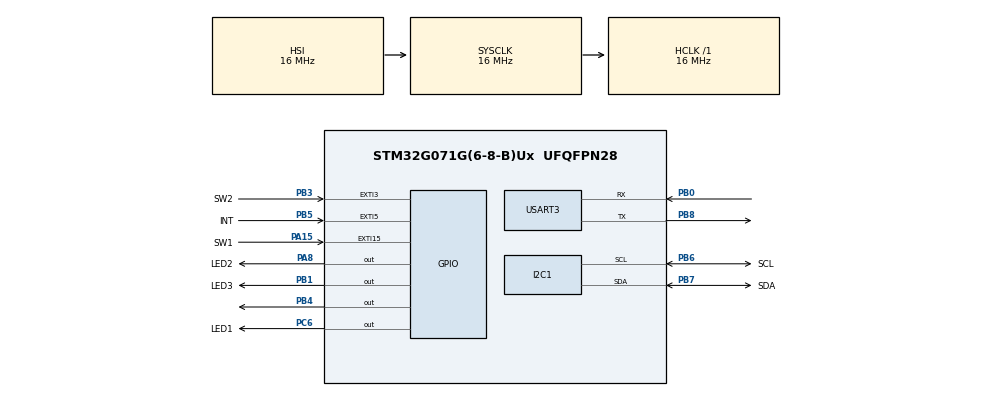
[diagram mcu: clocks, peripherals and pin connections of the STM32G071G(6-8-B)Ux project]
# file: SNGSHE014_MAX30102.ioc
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Mcu.Family=STM32G0
Mcu.Name=STM32G071G(6-8-B)Ux
Mcu.Package=UFQFPN28
PA15.GPIO_Label=SW1
PA15.GPIO_PuPd=GPIO_PULLUP
PA15.Signal=GPXTI15
PA8.GPIO_Label=LED2
PA8.GPIO_PuPd=GPIO_PULLUP
PA8.Signal=GPIO_Output
PB0.Mode=Asynchronous
PB0.Signal=USART3_RX
PB1.GPIO_Label=LED3
PB1.GPIO_PuPd=GPIO_PULLUP
PB1.Signal=GPIO_Output
PB3.GPIO_Label=SW2
PB3.GPIO_PuPd=GPIO_PULLUP
PB3.Signal=GPXTI3
PB4.Signal=GPIO_Output
PB5.GPIO_Label=INT
PB5.GPIO_PuPd=GPIO_PULLUP
PB5.Signal=GPXTI5
PB6.GPIO_Label=SCL
PB6.Mode=I2C
PB6.Signal=I2C1_SCL
PB7.GPIO_Label=SDA
PB7.Mode=I2C
PB7.Signal=I2C1_SDA
PB8.Mode=Asynchronous
PB8.Signal=USART3_TX
PC6.GPIO_Label=LED1
PC6.Signal=GPIO_Output
ProjectManager.HeapSize=0x200
ProjectManager.StackSize=0x400
ProjectManager.TargetToolchain=STM32CubeIDE
RCC.AHBFreq_Value=16000000
RCC.CortexFreq_Value=16000000
RCC.EXTERNAL_CLOCK_VALUE=48000
RCC.HCLKFreq_Value=16000000
RCC.HSE_VALUE=8000000
RCC.HSI_VALUE=16000000
RCC.LSE_VALUE=32768
RCC.SYSCLKFreq_VALUE=16000000
RCC.VCOOutputFreq_Value=128000000
USART3.VirtualMode-Asynchronous=VM_ASYNC
VP_SYS_VS_DBSignals.Mode=DisableDeadBatterySignals
board=custom

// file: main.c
/* USER CODE BEGIN Header */
/**
  ******************************************************************************
  * @file           : main.c
  * @brief          : Main program body
  ******************************************************************************
  * @attention
  *
  * <h2><center>&copy; Copyright (c) 2020 STMicroelectronics.
  * All rights reserved.</center></h2>
  *
  * This software component is licensed by ST under BSD 3-Clause license,
  * the "License"; You may not use this file except in compliance with the
  * License. You may obtain a copy of the License at:
  *                        opensource.org/licenses/BSD-3-Clause
  *
  ******************************************************************************
  */
/* USER CODE END Header */
#include "main.h"

/* USER CODE BEGIN Includes */
#include <stdio.h>
#include <string.h>
#include "MAX30102.h"
/* USER CODE END Includes */

I2C_HandleTypeDef hi2c1;

UART_HandleTypeDef huart3;

/* USER CODE BEGIN PV */
char UartBuf [32];
/* USER CODE END PV */

void SystemClock_Config(void);
static void MX_GPIO_Init(void);
static void MX_I2C1_Init(void);
static void MX_USART3_UART_Init(void);
static void MX_NVIC_Init(void);

/* USER CODE BEGIN 0 */
void UART3_SendString(char* s)
{
	HAL_UART_Transmit(&huart3, (uint8_t*) s, strlen(s), 1000);
}
/* USER CODE END 0 */

int main(void)
{

  /* MCU Configuration--------------------------------------------------------*/

  /* Reset of all peripherals, Initializes the Flash interface and the Systick. */
  HAL_Init();

  /* Configure the system clock */
  SystemClock_Config();

  /* Initialize all configured peripherals */
  MX_GPIO_Init();
  MX_I2C1_Init();
  MX_USART3_UART_Init();
  /* USER CODE BEGIN 2 */
  /* Initialize interrupts */
    MX_NVIC_Init();

    UART3_SendString("START\n\r");

    Max30102_Init(&hi2c1);
  /* USER CODE END 2 */

  /* Infinite loop */
  while (1)
  {
	  Max30102_Task();
	  sprintf(UartBuf, "HR: %d\n\rSpO2: %d\n\r", Max30102_GetHeartRate(), Max30102_GetSpO2Value());
	  UART3_SendString(UartBuf);
  }
}

void SystemClock_Config(void)
{
  RCC_OscInitTypeDef RCC_OscInitStruct = {0};
  RCC_ClkInitTypeDef RCC_ClkInitStruct = {0};
  RCC_PeriphCLKInitTypeDef PeriphClkInit = {0};

  /** Configure the main internal regulator output voltage
  */
  HAL_PWREx_ControlVoltageScaling(PWR_REGULATOR_VOLTAGE_SCALE1);
  /** Initializes the RCC Oscillators according to the specified parameters
  * in the RCC_OscInitTypeDef structure.
  */
  RCC_OscInitStruct.OscillatorType = RCC_OSCILLATORTYPE_HSI;
  RCC_OscInitStruct.HSIState = RCC_HSI_ON;
  RCC_OscInitStruct.HSIDiv = RCC_HSI_DIV1;
  RCC_OscInitStruct.HSICalibrationValue = RCC_HSICALIBRATION_DEFAULT;
  RCC_OscInitStruct.PLL.PLLState = RCC_PLL_NONE;
  if (HAL_RCC_OscConfig(&RCC_OscInitStruct) != HAL_OK)
  {
    Error_Handler();
  }
  /** Initializes the CPU, AHB and APB buses clocks
  */
  RCC_ClkInitStruct.ClockType = RCC_CLOCKTYPE_HCLK|RCC_CLOCKTYPE_SYSCLK
                              |RCC_CLOCKTYPE_PCLK1;
  RCC_ClkInitStruct.SYSCLKSource = RCC_SYSCLKSOURCE_HSI;
  RCC_ClkInitStruct.AHBCLKDivider = RCC_SYSCLK_DIV1;
  RCC_ClkInitStruct.APB1CLKDivider = RCC_HCLK_DIV1;

  if (HAL_RCC_ClockConfig(&RCC_ClkInitStruct, FLASH_LATENCY_0) != HAL_OK)
  {
    Error_Handler();
  }
  /** Initializes the peripherals clocks
  */
  PeriphClkInit.PeriphClockSelection = RCC_PERIPHCLK_I2C1;
  PeriphClkInit.I2c1ClockSelection = RCC_I2C1CLKSOURCE_PCLK1;
  if (HAL_RCCEx_PeriphCLKConfig(&PeriphClkInit) != HAL_OK)
  {
    Error_Handler();
  }
}

static void MX_I2C1_Init(void)
{

  hi2c1.Instance = I2C1;
  hi2c1.Init.Timing = 0x00303D5B;
  hi2c1.Init.OwnAddress1 = 0;
  hi2c1.Init.AddressingMode = I2C_ADDRESSINGMODE_7BIT;
  hi2c1.Init.DualAddressMode = I2C_DUALADDRESS_DISABLE;
  hi2c1.Init.OwnAddress2 = 0;
  hi2c1.Init.OwnAddress2Masks = I2C_OA2_NOMASK;
  hi2c1.Init.GeneralCallMode = I2C_GENERALCALL_DISABLE;
  hi2c1.Init.NoStretchMode = I2C_NOSTRETCH_DISABLE;
  if (HAL_I2C_Init(&hi2c1) != HAL_OK)
  {
    Error_Handler();
  }
  /** Configure Analogue filter
  */
  if (HAL_I2CEx_ConfigAnalogFilter(&hi2c1, I2C_ANALOGFILTER_ENABLE) != HAL_OK)
  {
    Error_Handler();
  }
  /** Configure Digital filter
  */
  if (HAL_I2CEx_ConfigDigitalFilter(&hi2c1, 0) != HAL_OK)
  {
    Error_Handler();
  }

}

static void MX_USART3_UART_Init(void)
{

  huart3.Instance = USART3;
  huart3.Init.BaudRate = 115200;
  huart3.Init.WordLength = UART_WORDLENGTH_8B;
  huart3.Init.StopBits = UART_STOPBITS_1;
  huart3.Init.Parity = UART_PARITY_NONE;
  huart3.Init.Mode = UART_MODE_TX_RX;
  huart3.Init.HwFlowCtl = UART_HWCONTROL_NONE;
  huart3.Init.OverSampling = UART_OVERSAMPLING_16;
  huart3.Init.OneBitSampling = UART_ONE_BIT_SAMPLE_DISABLE;
  huart3.Init.ClockPrescaler = UART_PRESCALER_DIV1;
  huart3.AdvancedInit.AdvFeatureInit = UART_ADVFEATURE_NO_INIT;
  if (HAL_UART_Init(&huart3) != HAL_OK)
  {
    Error_Handler();
  }

}

static void MX_GPIO_Init(void)
{
  GPIO_InitTypeDef GPIO_InitStruct = {0};

  /* GPIO Ports Clock Enable */
  __HAL_RCC_GPIOB_CLK_ENABLE();
  __HAL_RCC_GPIOA_CLK_ENABLE();
  __HAL_RCC_GPIOC_CLK_ENABLE();

  /*Configure GPIO pin Output Level */
  HAL_GPIO_WritePin(GPIOB, LED3_Pin|GPIO_PIN_4, GPIO_PIN_RESET);

  /*Configure GPIO pin Output Level */
  HAL_GPIO_WritePin(LED2_GPIO_Port, LED2_Pin, GPIO_PIN_RESET);

  /*Configure GPIO pin Output Level */
  HAL_GPIO_WritePin(LED1_GPIO_Port, LED1_Pin, GPIO_PIN_RESET);

  /*Configure GPIO pin : LED3_Pin */
  GPIO_InitStruct.Pin = LED3_Pin;
  GPIO_InitStruct.Mode = GPIO_MODE_OUTPUT_PP;
  GPIO_InitStruct.Pull = GPIO_PULLUP;
  GPIO_InitStruct.Speed = GPIO_SPEED_FREQ_LOW;
  HAL_GPIO_Init(LED3_GPIO_Port, &GPIO_InitStruct);

  /*Configure GPIO pin : LED2_Pin */
  GPIO_InitStruct.Pin = LED2_Pin;
  GPIO_InitStruct.Mode = GPIO_MODE_OUTPUT_PP;
  GPIO_InitStruct.Pull = GPIO_PULLUP;
  GPIO_InitStruct.Speed = GPIO_SPEED_FREQ_LOW;
  HAL_GPIO_Init(LED2_GPIO_Port, &GPIO_InitStruct);

  /*Configure GPIO pin : LED1_Pin */
  GPIO_InitStruct.Pin = LED1_Pin;
  GPIO_InitStruct.Mode = GPIO_MODE_OUTPUT_PP;
  GPIO_InitStruct.Pull = GPIO_NOPULL;
  GPIO_InitStruct.Speed = GPIO_SPEED_FREQ_LOW;
  HAL_GPIO_Init(LED1_GPIO_Port, &GPIO_InitStruct);

  /*Configure GPIO pin : SW1_Pin */
  GPIO_InitStruct.Pin = SW1_Pin;
  GPIO_InitStruct.Mode = GPIO_MODE_IT_RISING;
  GPIO_InitStruct.Pull = GPIO_PULLUP;
  HAL_GPIO_Init(SW1_GPIO_Port, &GPIO_InitStruct);

  /*Configure GPIO pins : SW2_Pin INT_Pin */
  GPIO_InitStruct.Pin = SW2_Pin|INT_Pin;
  GPIO_InitStruct.Mode = GPIO_MODE_IT_RISING;
  GPIO_InitStruct.Pull = GPIO_PULLUP;
  HAL_GPIO_Init(GPIOB, &GPIO_InitStruct);

  /*Configure GPIO pin : PB4 */
  GPIO_InitStruct.Pin = GPIO_PIN_4;
  GPIO_InitStruct.Mode = GPIO_MODE_OUTPUT_PP;
  GPIO_InitStruct.Pull = GPIO_NOPULL;
  GPIO_InitStruct.Speed = GPIO_SPEED_FREQ_LOW;
  HAL_GPIO_Init(GPIOB, &GPIO_InitStruct);

}

/* USER CODE BEGIN 4 */
static void MX_NVIC_Init(void)
{
  /* EXTI9_5_IRQn interrupt configuration */
  HAL_NVIC_SetPriority(EXTI4_15_IRQn, 1, 0);
  HAL_NVIC_EnableIRQ(EXTI4_15_IRQn);
}

/* USER CODE BEGIN 4 */

void HAL_GPIO_EXTI_Callback(uint16_t GPIO_Pin) {
	if (GPIO_Pin == INT_Pin) {
		Max30102_InterruptCallback();
	}
}
/* USER CODE END 4 */

void Error_Handler(void)
{
}

/************************ (C) COPYRIGHT STMicroelectronics *****END OF FILE****/
